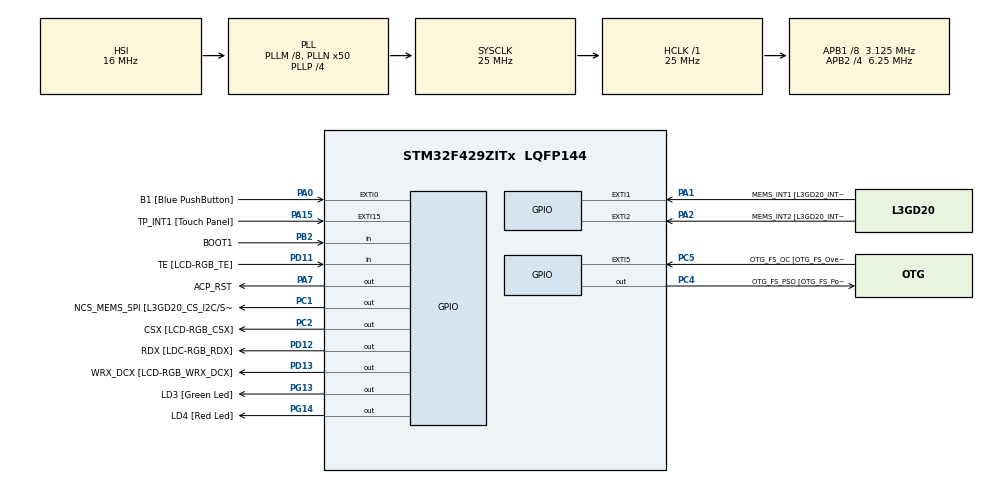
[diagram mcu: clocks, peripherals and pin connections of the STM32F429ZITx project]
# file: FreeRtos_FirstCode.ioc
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Mcu.Family=STM32F4
Mcu.Name=STM32F429ZITx
Mcu.Package=LQFP144
NVIC.PriorityGroup=NVIC_PRIORITYGROUP_4
NVIC.TIM6_DAC_IRQn=true\:0\:0\:false\:false\:true\:false\:true\:true
NVIC.TimeBase=TIM6_DAC_IRQn
NVIC.TimeBaseIP=TIM6
PA0/WKUP.GPIO_Label=B1 [Blue PushButton]
PA0/WKUP.GPIO_ModeDefaultEXTI=GPIO_MODE_EVT_RISING
PA0/WKUP.GPIO_PuPd=GPIO_NOPULL
PA0/WKUP.Signal=GPXTI0
PA1.GPIO_Label=MEMS_INT1 [L3GD20_INT1]
PA1.GPIO_ModeDefaultEXTI=GPIO_MODE_EVT_RISING
PA1.GPIO_PuPd=GPIO_NOPULL
PA1.Signal=GPXTI1
PA10.GPIO_Label=STLINK_TX [STM32F103CBT6_PA2]
PA10.Signal=USART1_RX
PA11.GPIO_Label=R4
PA11.GPIO_Mode=GPIO_MODE_AF_PP
PA11.GPIO_PuPd=GPIO_NOPULL
PA11.GPIO_Speed=GPIO_SPEED_FREQ_LOW
PA11.Signal=LTDC_R4
PA12.GPIO_Label=R5
PA12.GPIO_Mode=GPIO_MODE_AF_PP
PA12.GPIO_PuPd=GPIO_NOPULL
PA12.GPIO_Speed=GPIO_SPEED_FREQ_LOW
PA12.Signal=LTDC_R5
PA13.GPIO_Label=SWDIO
PA13.Signal=SYS_JTMS-SWDIO
PA14.GPIO_Label=SWCLK
PA14.Signal=SYS_JTCK-SWCLK
PA15.GPIO_Label=TP_INT1 [Touch Panel]
PA15.GPIO_ModeDefaultEXTI=GPIO_MODE_EVT_RISING
PA15.GPIO_PuPd=GPIO_NOPULL
PA15.Signal=GPXTI15
PA2.GPIO_Label=MEMS_INT2 [L3GD20_INT2]
PA2.GPIO_ModeDefaultEXTI=GPIO_MODE_EVT_RISING
PA2.GPIO_PuPd=GPIO_NOPULL
PA2.Signal=GPXTI2
PA3.GPIO_Label=B5
PA3.GPIO_Mode=GPIO_MODE_AF_PP
PA3.GPIO_PuPd=GPIO_NOPULL
PA3.GPIO_Speed=GPIO_SPEED_FREQ_LOW
PA3.Signal=LTDC_B5
PA4.GPIO_Label=VSYNC
PA4.GPIO_Mode=GPIO_MODE_AF_PP
PA4.GPIO_PuPd=GPIO_NOPULL
PA4.GPIO_Speed=GPIO_SPEED_FREQ_LOW
PA4.Signal=LTDC_VSYNC
PA6.GPIO_Label=G2
PA6.GPIO_Mode=GPIO_MODE_AF_PP
PA6.GPIO_PuPd=GPIO_NOPULL
PA6.GPIO_Speed=GPIO_SPEED_FREQ_LOW
PA6.Signal=LTDC_G2
PA7.GPIO_Label=ACP_RST
PA7.GPIO_Mode=GPIO_MODE_OUTPUT_PP
PA7.GPIO_PuPd=GPIO_NOPULL
PA7.GPIO_Speed=GPIO_SPEED_FREQ_LOW
PA7.Signal=GPIO_Output
PA8.GPIO_Label=I2C3_SCL [ACP/RF_SCL]
PA8.GPIO_Mode=GPIO_MODE_AF_OD
PA8.GPIO_PuPd=GPIO_NOPULL
PA8.GPIO_Speed=GPIO_SPEED_FREQ_LOW
PA8.Signal=I2C3_SCL
PA9.GPIO_Label=STLINK_RX [STM32F103CBT6_PA3]
PA9.Signal=USART1_TX
PB0.GPIO_Label=R3
PB0.GPIO_Mode=GPIO_MODE_AF_PP
PB0.GPIO_PuPd=GPIO_NOPULL
PB0.GPIO_Speed=GPIO_SPEED_FREQ_LOW
PB0.Signal=LTDC_R3
PB1.GPIO_Label=R6
PB1.GPIO_Mode=GPIO_MODE_AF_PP
PB1.GPIO_PuPd=GPIO_NOPULL
PB1.GPIO_Speed=GPIO_SPEED_FREQ_LOW
PB1.Signal=LTDC_R6
PB10.GPIO_Label=G4
PB10.GPIO_Mode=GPIO_MODE_AF_PP
PB10.GPIO_PuPd=GPIO_NOPULL
PB10.GPIO_Speed=GPIO_SPEED_FREQ_LOW
PB10.Signal=LTDC_G4
PB11.GPIO_Label=G5
PB11.GPIO_Mode=GPIO_MODE_AF_PP
PB11.GPIO_PuPd=GPIO_NOPULL
PB11.GPIO_Speed=GPIO_SPEED_FREQ_LOW
PB11.Signal=LTDC_G5
PB12.GPIO_Label=OTG_HS_ID
PB12.GPIO_Mode=GPIO_MODE_AF_PP
PB12.GPIO_PuPd=GPIO_NOPULL
PB12.GPIO_Speed=GPIO_SPEED_FREQ_LOW
PB12.Signal=USB_OTG_HS_ID
PB13.GPIO_Label=VBUS_HS
PB13.GPIO_Mode=GPIO_MODE_INPUT
PB13.GPIO_PuPd=GPIO_NOPULL
PB13.Signal=USB_OTG_HS_VBUS
PB14.GPIO_Label=OTG_HS_DM
PB14.GPIO_Mode=GPIO_MODE_AF_PP
PB14.GPIO_PuPd=GPIO_NOPULL
PB14.GPIO_Speed=GPIO_SPEED_FREQ_LOW
PB14.Signal=USB_OTG_HS_DM
PB15.GPIO_Label=OTG_HS_DP
PB15.GPIO_Mode=GPIO_MODE_AF_PP
PB15.GPIO_PuPd=GPIO_NOPULL
PB15.GPIO_Speed=GPIO_SPEED_FREQ_LOW
PB15.Signal=USB_OTG_HS_DP
PB2/BOOT1.GPIO_Label=BOOT1
PB2/BOOT1.GPIO_Mode=GPIO_MODE_INPUT
PB2/BOOT1.GPIO_PuPd=GPIO_NOPULL
PB2/BOOT1.Signal=GPIO_Input
PB5.GPIO_Label=SDCKE1
PB5.GPIO_Mode=GPIO_MODE_AF_PP
PB5.GPIO_PuPd=GPIO_NOPULL
PB5.GPIO_Speed=GPIO_SPEED_FREQ_VERY_HIGH
PB5.Signal=FMC_SDCKE1
PB6.GPIO_Label=SDNE1 [SDRAM_CS]
PB6.GPIO_Mode=GPIO_MODE_AF_PP
PB6.GPIO_PuPd=GPIO_NOPULL
PB6.GPIO_Speed=GPIO_SPEED_FREQ_VERY_HIGH
PB6.Signal=FMC_SDNE1
PB8.GPIO_Label=B6
PB8.GPIO_Mode=GPIO_MODE_AF_PP
PB8.GPIO_PuPd=GPIO_NOPULL
PB8.GPIO_Speed=GPIO_SPEED_FREQ_LOW
PB8.Signal=LTDC_B6
PB9.GPIO_Label=B7
PB9.GPIO_Mode=GPIO_MODE_AF_PP
PB9.GPIO_PuPd=GPIO_NOPULL
PB9.GPIO_Speed=GPIO_SPEED_FREQ_LOW
PB9.Signal=LTDC_B7
PC0.GPIO_Label=SDNWE
PC0.GPIO_Mode=GPIO_MODE_AF_PP
PC0.GPIO_PuPd=GPIO_NOPULL
PC0.GPIO_Speed=GPIO_SPEED_FREQ_VERY_HIGH
PC0.Signal=FMC_SDNWE
PC1.GPIO_Label=NCS_MEMS_SPI [L3GD20_CS_I2C/SPI]
PC1.GPIO_Mode=GPIO_MODE_OUTPUT_PP
PC1.GPIO_PuPd=GPIO_NOPULL
PC1.GPIO_Speed=GPIO_SPEED_FREQ_LOW
PC1.Signal=GPIO_Output
PC10.GPIO_Label=R2
PC10.GPIO_Mode=GPIO_MODE_AF_PP
PC10.GPIO_PuPd=GPIO_NOPULL
PC10.GPIO_Speed=GPIO_SPEED_FREQ_LOW
PC10.Signal=LTDC_R2
PC14/OSC32_IN.GPIO_Label=PC14-OSC32_IN
PC14/OSC32_IN.Signal=RCC_OSC32_IN
PC15/OSC32_OUT.GPIO_Label=PC15-OSC32_OUT
PC15/OSC32_OUT.Signal=RCC_OSC32_OUT
PC2.GPIO_Label=CSX [LCD-RGB_CSX]
PC2.GPIO_Mode=GPIO_MODE_OUTPUT_PP
PC2.GPIO_PuPd=GPIO_NOPULL
PC2.GPIO_Speed=GPIO_SPEED_FREQ_LOW
PC2.Signal=GPIO_Output
PC4.GPIO_Label=OTG_FS_PSO [OTG_FS_PowerSwitchOn]
PC4.GPIO_Mode=GPIO_MODE_OUTPUT_PP
PC4.GPIO_PuPd=GPIO_NOPULL
PC4.GPIO_Speed=GPIO_SPEED_FREQ_LOW
PC4.Signal=GPIO_Output
PC5.GPIO_Label=OTG_FS_OC [OTG_FS_OverCurrent]
PC5.GPIO_ModeDefaultEXTI=GPIO_MODE_EVT_RISING
PC5.Signal=GPXTI5
PC6.GPIO_Label=HSYNC
PC6.GPIO_Mode=GPIO_MODE_AF_PP
PC6.GPIO_PuPd=GPIO_NOPULL
PC6.GPIO_Speed=GPIO_SPEED_FREQ_LOW
PC6.Signal=LTDC_HSYNC
PC7.GPIO_Label=G6
PC7.GPIO_Mode=GPIO_MODE_AF_PP
PC7.GPIO_PuPd=GPIO_NOPULL
PC7.GPIO_Speed=GPIO_SPEED_FREQ_LOW
PC7.Signal=LTDC_G6
PC9.GPIO_Label=I2C3_SDA [ACP/RF_SDA]
PC9.GPIO_Mode=GPIO_MODE_AF_OD
PC9.GPIO_PuPd=GPIO_NOPULL
PC9.GPIO_Speed=GPIO_SPEED_FREQ_LOW
PC9.Signal=I2C3_SDA
PD0.GPIO_Label=D2
PD0.GPIO_Mode=GPIO_MODE_AF_PP
PD0.GPIO_PuPd=GPIO_NOPULL
PD0.GPIO_Speed=GPIO_SPEED_FREQ_VERY_HIGH
PD0.Signal=FMC_D2_DA2
PD1.GPIO_Label=D3
PD1.GPIO_Mode=GPIO_MODE_AF_PP
PD1.GPIO_PuPd=GPIO_NOPULL
PD1.GPIO_Speed=GPIO_SPEED_FREQ_VERY_HIGH
PD1.Signal=FMC_D3_DA3
PD10.GPIO_Label=D15
PD10.GPIO_Mode=GPIO_MODE_AF_PP
PD10.GPIO_PuPd=GPIO_NOPULL
PD10.GPIO_Speed=GPIO_SPEED_FREQ_VERY_HIGH
PD10.Signal=FMC_D15_DA15
PD11.GPIO_Label=TE [LCD-RGB_TE]
PD11.GPIO_Mode=GPIO_MODE_INPUT
PD11.GPIO_PuPd=GPIO_NOPULL
PD11.Signal=GPIO_Input
PD12.GPIO_Label=RDX [LDC-RGB_RDX]
PD12.GPIO_Mode=GPIO_MODE_OUTPUT_PP
PD12.GPIO_PuPd=GPIO_NOPULL
PD12.GPIO_Speed=GPIO_SPEED_FREQ_LOW
PD12.Signal=GPIO_Output
PD13.GPIO_Label=WRX_DCX [LCD-RGB_WRX_DCX]
PD13.GPIO_Mode=GPIO_MODE_OUTPUT_PP
PD13.GPIO_PuPd=GPIO_NOPULL
PD13.GPIO_Speed=GPIO_SPEED_FREQ_LOW
PD13.Signal=GPIO_Output
PD14.GPIO_Label=D0
PD14.GPIO_Mode=GPIO_MODE_AF_PP
PD14.GPIO_PuPd=GPIO_NOPULL
PD14.GPIO_Speed=GPIO_SPEED_FREQ_VERY_HIGH
PD14.Signal=FMC_D0_DA0
PD15.GPIO_Label=D1
PD15.GPIO_Mode=GPIO_MODE_AF_PP
PD15.GPIO_PuPd=GPIO_NOPULL
PD15.GPIO_Speed=GPIO_SPEED_FREQ_VERY_HIGH
PD15.Signal=FMC_D1_DA1
PD3.GPIO_Label=G7
PD3.GPIO_Mode=GPIO_MODE_AF_PP
PD3.GPIO_PuPd=GPIO_NOPULL
PD3.GPIO_Speed=GPIO_SPEED_FREQ_LOW
PD3.Signal=LTDC_G7
PD6.GPIO_Label=B2
PD6.GPIO_Mode=GPIO_MODE_AF_PP
PD6.GPIO_PuPd=GPIO_NOPULL
PD6.GPIO_Speed=GPIO_SPEED_FREQ_LOW
PD6.Signal=LTDC_B2
PD8.GPIO_Label=D13
PD8.GPIO_Mode=GPIO_MODE_AF_PP
PD8.GPIO_PuPd=GPIO_NOPULL
PD8.GPIO_Speed=GPIO_SPEED_FREQ_VERY_HIGH
PD8.Signal=FMC_D13_DA13
PD9.GPIO_Label=D14
PD9.GPIO_Mode=GPIO_MODE_AF_PP
PD9.GPIO_PuPd=GPIO_NOPULL
PD9.GPIO_Speed=GPIO_SPEED_FREQ_VERY_HIGH
PD9.Signal=FMC_D14_DA14
PE0.GPIO_Label=NBL0 [SDRAM_LDQM]
PE0.GPIO_Mode=GPIO_MODE_AF_PP
PE0.GPIO_PuPd=GPIO_NOPULL
PE0.GPIO_Speed=GPIO_SPEED_FREQ_VERY_HIGH
PE0.Signal=FMC_NBL0
PE1.GPIO_Label=NBL1 [SDRAM_UDQM]
PE1.GPIO_Mode=GPIO_MODE_AF_PP
PE1.GPIO_PuPd=GPIO_NOPULL
PE1.GPIO_Speed=GPIO_SPEED_FREQ_VERY_HIGH
PE1.Signal=FMC_NBL1
PE10.GPIO_Label=D7
PE10.GPIO_Mode=GPIO_MODE_AF_PP
PE10.GPIO_PuPd=GPIO_NOPULL
PE10.GPIO_Speed=GPIO_SPEED_FREQ_VERY_HIGH
PE10.Signal=FMC_D7_DA7
PE11.GPIO_Label=D8
PE11.GPIO_Mode=GPIO_MODE_AF_PP
PE11.GPIO_PuPd=GPIO_NOPULL
PE11.GPIO_Speed=GPIO_SPEED_FREQ_VERY_HIGH
PE11.Signal=FMC_D8_DA8
PE12.GPIO_Label=D9
PE12.GPIO_Mode=GPIO_MODE_AF_PP
PE12.GPIO_PuPd=GPIO_NOPULL
PE12.GPIO_Speed=GPIO_SPEED_FREQ_VERY_HIGH
PE12.Signal=FMC_D9_DA9
PE13.GPIO_Label=D10
PE13.GPIO_Mode=GPIO_MODE_AF_PP
PE13.GPIO_PuPd=GPIO_NOPULL
PE13.GPIO_Speed=GPIO_SPEED_FREQ_VERY_HIGH
PE13.Signal=FMC_D10_DA10
PE14.GPIO_Label=D11
PE14.GPIO_Mode=GPIO_MODE_AF_PP
PE14.GPIO_PuPd=GPIO_NOPULL
PE14.GPIO_Speed=GPIO_SPEED_FREQ_VERY_HIGH
PE14.Signal=FMC_D11_DA11
PE15.GPIO_Label=D12
PE15.GPIO_Mode=GPIO_MODE_AF_PP
PE15.GPIO_PuPd=GPIO_NOPULL
PE15.GPIO_Speed=GPIO_SPEED_FREQ_VERY_HIGH
PE15.Signal=FMC_D12_DA12
PE7.GPIO_Label=D4
PE7.GPIO_Mode=GPIO_MODE_AF_PP
PE7.GPIO_PuPd=GPIO_NOPULL
PE7.GPIO_Speed=GPIO_SPEED_FREQ_VERY_HIGH
PE7.Signal=FMC_D4_DA4
PE8.GPIO_Label=D5
PE8.GPIO_Mode=GPIO_MODE_AF_PP
PE8.GPIO_PuPd=GPIO_NOPULL
PE8.GPIO_Speed=GPIO_SPEED_FREQ_VERY_HIGH
PE8.Signal=FMC_D5_DA5
PE9.GPIO_Label=D6
PE9.GPIO_Mode=GPIO_MODE_AF_PP
PE9.GPIO_PuPd=GPIO_NOPULL
PE9.GPIO_Speed=GPIO_SPEED_FREQ_VERY_HIGH
PE9.Signal=FMC_D6_DA6
PF0.GPIO_Label=A0
PF0.GPIO_Mode=GPIO_MODE_AF_PP
PF0.GPIO_PuPd=GPIO_NOPULL
PF0.GPIO_Speed=GPIO_SPEED_FREQ_VERY_HIGH
PF0.Signal=FMC_A0
PF1.GPIO_Label=A1
PF1.GPIO_Mode=GPIO_MODE_AF_PP
PF1.GPIO_PuPd=GPIO_NOPULL
PF1.GPIO_Speed=GPIO_SPEED_FREQ_VERY_HIGH
PF1.Signal=FMC_A1
PF10.GPIO_Label=ENABLE [LCD-RGB_ENABLE]
PF10.GPIO_Mode=GPIO_MODE_AF_PP
PF10.GPIO_PuPd=GPIO_NOPULL
PF10.GPIO_Speed=GPIO_SPEED_FREQ_LOW
PF10.Signal=LTDC_DE
PF11.GPIO_Label=SDNRAS
PF11.GPIO_Mode=GPIO_MODE_AF_PP
PF11.GPIO_PuPd=GPIO_NOPULL
PF11.GPIO_Speed=GPIO_SPEED_FREQ_VERY_HIGH
PF11.Signal=FMC_SDNRAS
PF12.GPIO_Label=A6
PF12.GPIO_Mode=GPIO_MODE_AF_PP
PF12.GPIO_PuPd=GPIO_NOPULL
PF12.GPIO_Speed=GPIO_SPEED_FREQ_VERY_HIGH
PF12.Signal=FMC_A6
PF13.GPIO_Label=A7
PF13.GPIO_Mode=GPIO_MODE_AF_PP
PF13.GPIO_PuPd=GPIO_NOPULL
PF13.GPIO_Speed=GPIO_SPEED_FREQ_VERY_HIGH
PF13.Signal=FMC_A7
PF14.GPIO_Label=A8
PF14.GPIO_Mode=GPIO_MODE_AF_PP
PF14.GPIO_PuPd=GPIO_NOPULL
PF14.GPIO_Speed=GPIO_SPEED_FREQ_VERY_HIGH
PF14.Signal=FMC_A8
PF15.GPIO_Label=A9
PF15.GPIO_Mode=GPIO_MODE_AF_PP
PF15.GPIO_PuPd=GPIO_NOPULL
PF15.GPIO_Speed=GPIO_SPEED_FREQ_VERY_HIGH
PF15.Signal=FMC_A9
PF2.GPIO_Label=A2
PF2.GPIO_Mode=GPIO_MODE_AF_PP
PF2.GPIO_PuPd=GPIO_NOPULL
PF2.GPIO_Speed=GPIO_SPEED_FREQ_VERY_HIGH
PF2.Signal=FMC_A2
PF3.GPIO_Label=A3
PF3.GPIO_Mode=GPIO_MODE_AF_PP
PF3.GPIO_PuPd=GPIO_NOPULL
PF3.GPIO_Speed=GPIO_SPEED_FREQ_VERY_HIGH
PF3.Signal=FMC_A3
PF4.GPIO_Label=A4
PF4.GPIO_Mode=GPIO_MODE_AF_PP
PF4.GPIO_PuPd=GPIO_NOPULL
PF4.GPIO_Speed=GPIO_SPEED_FREQ_VERY_HIGH
PF4.Signal=FMC_A4
PF5.GPIO_Label=A5
PF5.GPIO_Mode=GPIO_MODE_AF_PP
PF5.GPIO_PuPd=GPIO_NOPULL
PF5.GPIO_Speed=GPIO_SPEED_FREQ_VERY_HIGH
PF5.Signal=FMC_A5
PF7.GPIO_Label=SPI5_SCK [L3GD20_SCL/SPC]
PF7.GPIO_Mode=GPIO_MODE_AF_PP
PF7.GPIO_PuPd=GPIO_NOPULL
PF7.GPIO_Speed=GPIO_SPEED_FREQ_LOW
PF7.Signal=SPI5_SCK
PF8.GPIO_Label=SPI5_MISO [L3GD20_SDO]
PF8.GPIO_Mode=GPIO_MODE_AF_PP
PF8.GPIO_PuPd=GPIO_NOPULL
PF8.GPIO_Speed=GPIO_SPEED_FREQ_LOW
PF8.Signal=SPI5_MISO
PF9.GPIO_Label=SPI5_MOSI [L3GD20_SDA/SDI/SDO]
PF9.GPIO_Mode=GPIO_MODE_AF_PP
PF9.GPIO_PuPd=GPIO_NOPULL
PF9.GPIO_Speed=GPIO_SPEED_FREQ_LOW
PF9.Signal=SPI5_MOSI
PG0.GPIO_Label=A10
PG0.GPIO_Mode=GPIO_MODE_AF_PP
PG0.GPIO_PuPd=GPIO_NOPULL
PG0.GPIO_Speed=GPIO_SPEED_FREQ_VERY_HIGH
PG0.Signal=FMC_A10
PG1.GPIO_Label=A11
PG1.GPIO_Mode=GPIO_MODE_AF_PP
PG1.GPIO_PuPd=GPIO_NOPULL
PG1.GPIO_Speed=GPIO_SPEED_FREQ_VERY_HIGH
PG1.Signal=FMC_A11
PG10.GPIO_Label=G3
PG10.GPIO_Mode=GPIO_MODE_AF_PP
PG10.GPIO_PuPd=GPIO_NOPULL
PG10.GPIO_Speed=GPIO_SPEED_FREQ_LOW
PG10.Signal=LTDC_G3
PG11.GPIO_Label=B3
PG11.GPIO_Mode=GPIO_MODE_AF_PP
PG11.GPIO_PuPd=GPIO_NOPULL
PG11.GPIO_Speed=GPIO_SPEED_FREQ_LOW
PG11.Signal=LTDC_B3
PG12.GPIO_Label=B4
PG12.GPIO_Mode=GPIO_MODE_AF_PP
PG12.GPIO_PuPd=GPIO_NOPULL
PG12.GPIO_Speed=GPIO_SPEED_FREQ_LOW
PG12.Signal=LTDC_B4
PG13.GPIO_Label=LD3 [Green Led]
PG13.GPIO_Mode=GPIO_MODE_OUTPUT_PP
PG13.GPIO_PuPd=GPIO_NOPULL
PG13.GPIO_Speed=GPIO_SPEED_FREQ_LOW
PG13.Signal=GPIO_Output
PG14.GPIO_Label=LD4 [Red Led]
PG14.GPIO_Mode=GPIO_MODE_OUTPUT_PP
PG14.GPIO_PuPd=GPIO_NOPULL
PG14.GPIO_Speed=GPIO_SPEED_FREQ_LOW
PG14.Signal=GPIO_Output
PG15.GPIO_Label=SDNCAS
PG15.GPIO_Mode=GPIO_MODE_AF_PP
PG15.GPIO_PuPd=GPIO_NOPULL
PG15.GPIO_Speed=GPIO_SPEED_FREQ_VERY_HIGH
PG15.Signal=FMC_SDNCAS
PG4.GPIO_Label=BA0
PG4.GPIO_Mode=GPIO_MODE_AF_PP
PG4.GPIO_PuPd=GPIO_NOPULL
PG4.GPIO_Speed=GPIO_SPEED_FREQ_VERY_HIGH
PG4.Signal=FMC_A14_BA0
PG5.GPIO_Label=BA1
PG5.GPIO_Mode=GPIO_MODE_AF_PP
PG5.GPIO_PuPd=GPIO_NOPULL
PG5.GPIO_Speed=GPIO_SPEED_FREQ_VERY_HIGH
PG5.Signal=FMC_A15_BA1
PG6.GPIO_Label=R7
PG6.GPIO_Mode=GPIO_MODE_AF_PP
PG6.GPIO_PuPd=GPIO_NOPULL
PG6.GPIO_Speed=GPIO_SPEED_FREQ_LOW
PG6.Signal=LTDC_R7
PG7.GPIO_Label=DOTCLK [LCT-RGB_DOTCLK]
PG7.GPIO_Mode=GPIO_MODE_AF_PP
PG7.GPIO_PuPd=GPIO_NOPULL
PG7.GPIO_Speed=GPIO_SPEED_FREQ_LOW
PG7.Signal=LTDC_CLK
PG8.GPIO_Label=SDCLK
PG8.GPIO_Mode=GPIO_MODE_AF_PP
PG8.GPIO_PuPd=GPIO_NOPULL
PG8.GPIO_Speed=GPIO_SPEED_FREQ_VERY_HIGH
PG8.Signal=FMC_SDCLK
PH0/OSC_IN.GPIO_Label=PH0-OSC_IN
PH0/OSC_IN.Signal=RCC_OSC_IN
PH1/OSC_OUT.GPIO_Label=PH1-OSC_OUT
PH1/OSC_OUT.Signal=RCC_OSC_OUT
ProjectManager.HeapSize=0x200
ProjectManager.StackSize=0x400
ProjectManager.TargetToolchain=STM32CubeIDE
RCC.48MHZClocksFreq_Value=14285714.285714285
RCC.AHBFreq_Value=25000000
RCC.APB1CLKDivider=RCC_HCLK_DIV8
RCC.APB1Freq_Value=3125000
RCC.APB1TimFreq_Value=6250000
RCC.APB2CLKDivider=RCC_HCLK_DIV4
RCC.APB2Freq_Value=6250000
RCC.APB2TimFreq_Value=12500000
RCC.CortexFreq_Value=25000000
RCC.HCLKFreq_Value=25000000
RCC.HSE_VALUE=8000000
RCC.HSI_VALUE=16000000
RCC.LSE_VALUE=32768
RCC.PLLM=8
RCC.PLLN=50
RCC.PLLP=RCC_PLLP_DIV4
RCC.PLLQ=7
RCC.SYSCLKFreq_VALUE=25000000
RCC.SYSCLKSource=RCC_SYSCLKSOURCE_PLLCLK
RCC.VCOOutputFreq_Value=100000000
SH.FMC_A0.0=FMC_A0
SH.FMC_A1.0=FMC_A1
SH.FMC_A10.0=FMC_A10
SH.FMC_A11.0=FMC_A11
SH.FMC_A14_BA0.0=FMC_BA0
SH.FMC_A15_BA1.0=FMC_BA1
SH.FMC_A2.0=FMC_A2
SH.FMC_A3.0=FMC_A3
SH.FMC_A4.0=FMC_A4
SH.FMC_A5.0=FMC_A5
SH.FMC_A6.0=FMC_A6
SH.FMC_A7.0=FMC_A7
SH.FMC_A8.0=FMC_A8
SH.FMC_A9.0=FMC_A9
SH.FMC_D0_DA0.0=FMC_D0
SH.FMC_D10_DA10.0=FMC_D10
SH.FMC_D11_DA11.0=FMC_D11
SH.FMC_D12_DA12.0=FMC_D12
SH.FMC_D13_DA13.0=FMC_D13
SH.FMC_D14_DA14.0=FMC_D14
SH.FMC_D15_DA15.0=FMC_D15
SH.FMC_D1_DA1.0=FMC_D1
SH.FMC_D2_DA2.0=FMC_D2
SH.FMC_D3_DA3.0=FMC_D3
SH.FMC_D4_DA4.0=FMC_D4
SH.FMC_D5_DA5.0=FMC_D5
SH.FMC_D6_DA6.0=FMC_D6
SH.FMC_D7_DA7.0=FMC_D7
SH.FMC_D8_DA8.0=FMC_D8
SH.FMC_D9_DA9.0=FMC_D9
SH.FMC_NBL0.0=FMC_NBL0
SH.FMC_NBL1.0=FMC_NBL1
SH.FMC_SDCLK.0=FMC_SDCLK
SH.FMC_SDNCAS.0=FMC_SDNCAS
SH.FMC_SDNRAS.0=FMC_SDNRAS
SH.FMC_SDNWE.0=FMC_SDNWE
VP_SYS_VS_tim6.Mode=TIM6
board=STM32F429I-DISC1

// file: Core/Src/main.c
/* USER CODE BEGIN Header */
/**
  ******************************************************************************
  * @file           : main.c
  * @brief          : Main program body
  ******************************************************************************
  * @attention
  *
  * Copyright (c) 2023 STMicroelectronics.
  * All rights reserved.
  *
  * This software is licensed under terms that can be found in the LICENSE file
  * in the root directory of this software component.
  * If no LICENSE file comes with this software, it is provided AS-IS.
  *
  ******************************************************************************
  */
/* USER CODE END Header */
#include "main.h"

/* USER CODE BEGIN Includes */
#include <stdio.h>
#include "FreeRTOS.h"
#include "task.h"
/* USER CODE END Includes */

/* USER CODE BEGIN PV */

#define DWT_CTRL	(*(volatile uint32_t*)0xE0001000)

/* USER CODE END PV */

void SystemClock_Config(void);
static void MX_GPIO_Init(void);
/* USER CODE BEGIN PFP */
static void Task1_Handler(void* Parameter);
static void Task2_Handler(void* Parameter);
/* USER CODE END PFP */

int main(void)
{
  /* USER CODE BEGIN 1 */
	TaskHandle_t Task1_handle;
	TaskHandle_t Task2_handle;
	BaseType_t Is_Created;
  /* USER CODE END 1 */

  /* MCU Configuration--------------------------------------------------------*/

  /* Reset of all peripherals, Initializes the Flash interface and the Systick. */
  HAL_Init();

  /* Configure the system clock */
  SystemClock_Config();

  /* Initialize all configured peripherals */
  MX_GPIO_Init();
  /* USER CODE BEGIN 2 */

//Enable the CYCCNT counter.

 DWT_CTRL |= (1 << 0);

 SEGGER_SYSVIEW_Conf();
 SEGGER_SYSVIEW_Start();

Is_Created =  xTaskCreate(Task1_Handler,"Task-1",200,"Hello World from Task-1",2,&Task1_handle);
configASSERT(Is_Created == pdPASS);
Is_Created =  xTaskCreate(Task2_Handler,"Task-2",200,"Hello World from Task-2",2,&Task2_handle);
configASSERT(Is_Created == pdPASS);

vTaskStartScheduler();

  /* USER CODE END 2 */

  /* Infinite loop */
  while (1)
  {

  }
}

void SystemClock_Config(void)
{
  RCC_OscInitTypeDef RCC_OscInitStruct = {0};
  RCC_ClkInitTypeDef RCC_ClkInitStruct = {0};

  /** Configure the main internal regulator output voltage
  */
  __HAL_RCC_PWR_CLK_ENABLE();
  __HAL_PWR_VOLTAGESCALING_CONFIG(PWR_REGULATOR_VOLTAGE_SCALE3);

  /** Initializes the RCC Oscillators according to the specified parameters
  * in the RCC_OscInitTypeDef structure.
  */
  RCC_OscInitStruct.OscillatorType = RCC_OSCILLATORTYPE_HSI;
  RCC_OscInitStruct.HSIState = RCC_HSI_ON;
  RCC_OscInitStruct.HSICalibrationValue = RCC_HSICALIBRATION_DEFAULT;
  RCC_OscInitStruct.PLL.PLLState = RCC_PLL_ON;
  RCC_OscInitStruct.PLL.PLLSource = RCC_PLLSOURCE_HSI;
  RCC_OscInitStruct.PLL.PLLM = 8;
  RCC_OscInitStruct.PLL.PLLN = 50;
  RCC_OscInitStruct.PLL.PLLP = RCC_PLLP_DIV4;
  RCC_OscInitStruct.PLL.PLLQ = 7;
  if (HAL_RCC_OscConfig(&RCC_OscInitStruct) != HAL_OK)
  {
    Error_Handler();
  }

  /** Initializes the CPU, AHB and APB buses clocks
  */
  RCC_ClkInitStruct.ClockType = RCC_CLOCKTYPE_HCLK|RCC_CLOCKTYPE_SYSCLK
                              |RCC_CLOCKTYPE_PCLK1|RCC_CLOCKTYPE_PCLK2;
  RCC_ClkInitStruct.SYSCLKSource = RCC_SYSCLKSOURCE_PLLCLK;
  RCC_ClkInitStruct.AHBCLKDivider = RCC_SYSCLK_DIV1;
  RCC_ClkInitStruct.APB1CLKDivider = RCC_HCLK_DIV8;
  RCC_ClkInitStruct.APB2CLKDivider = RCC_HCLK_DIV4;

  if (HAL_RCC_ClockConfig(&RCC_ClkInitStruct, FLASH_LATENCY_0) != HAL_OK)
  {
    Error_Handler();
  }
}

static void MX_GPIO_Init(void)
{
  GPIO_InitTypeDef GPIO_InitStruct = {0};

  /* GPIO Ports Clock Enable */
  __HAL_RCC_GPIOC_CLK_ENABLE();
  __HAL_RCC_GPIOF_CLK_ENABLE();
  __HAL_RCC_GPIOH_CLK_ENABLE();
  __HAL_RCC_GPIOA_CLK_ENABLE();
  __HAL_RCC_GPIOB_CLK_ENABLE();
  __HAL_RCC_GPIOG_CLK_ENABLE();
  __HAL_RCC_GPIOE_CLK_ENABLE();
  __HAL_RCC_GPIOD_CLK_ENABLE();

  /*Configure GPIO pin Output Level */
  HAL_GPIO_WritePin(GPIOC, NCS_MEMS_SPI_Pin|CSX_Pin|OTG_FS_PSO_Pin, GPIO_PIN_RESET);

  /*Configure GPIO pin Output Level */
  HAL_GPIO_WritePin(ACP_RST_GPIO_Port, ACP_RST_Pin, GPIO_PIN_RESET);

  /*Configure GPIO pin Output Level */
  HAL_GPIO_WritePin(GPIOD, RDX_Pin|WRX_DCX_Pin, GPIO_PIN_RESET);

  /*Configure GPIO pin Output Level */
  HAL_GPIO_WritePin(GPIOG, LD3_Pin|LD4_Pin, GPIO_PIN_RESET);

  /*Configure GPIO pins : A0_Pin A1_Pin A2_Pin A3_Pin
                           A4_Pin A5_Pin SDNRAS_Pin A6_Pin
                           A7_Pin A8_Pin A9_Pin */
  GPIO_InitStruct.Pin = A0_Pin|A1_Pin|A2_Pin|A3_Pin
                          |A4_Pin|A5_Pin|SDNRAS_Pin|A6_Pin
                          |A7_Pin|A8_Pin|A9_Pin;
  GPIO_InitStruct.Mode = GPIO_MODE_AF_PP;
  GPIO_InitStruct.Pull = GPIO_NOPULL;
  GPIO_InitStruct.Speed = GPIO_SPEED_FREQ_VERY_HIGH;
  GPIO_InitStruct.Alternate = GPIO_AF12_FMC;
  HAL_GPIO_Init(GPIOF, &GPIO_InitStruct);

  /*Configure GPIO pins : SPI5_SCK_Pin SPI5_MISO_Pin SPI5_MOSI_Pin */
  GPIO_InitStruct.Pin = SPI5_SCK_Pin|SPI5_MISO_Pin|SPI5_MOSI_Pin;
  GPIO_InitStruct.Mode = GPIO_MODE_AF_PP;
  GPIO_InitStruct.Pull = GPIO_NOPULL;
  GPIO_InitStruct.Speed = GPIO_SPEED_FREQ_LOW;
  GPIO_InitStruct.Alternate = GPIO_AF5_SPI5;
  HAL_GPIO_Init(GPIOF, &GPIO_InitStruct);

  /*Configure GPIO pin : ENABLE_Pin */
  GPIO_InitStruct.Pin = ENABLE_Pin;
  GPIO_InitStruct.Mode = GPIO_MODE_AF_PP;
  GPIO_InitStruct.Pull = GPIO_NOPULL;
  GPIO_InitStruct.Speed = GPIO_SPEED_FREQ_LOW;
  GPIO_InitStruct.Alternate = GPIO_AF14_LTDC;
  HAL_GPIO_Init(ENABLE_GPIO_Port, &GPIO_InitStruct);

  /*Configure GPIO pin : SDNWE_Pin */
  GPIO_InitStruct.Pin = SDNWE_Pin;
  GPIO_InitStruct.Mode = GPIO_MODE_AF_PP;
  GPIO_InitStruct.Pull = GPIO_NOPULL;
  GPIO_InitStruct.Speed = GPIO_SPEED_FREQ_VERY_HIGH;
  GPIO_InitStruct.Alternate = GPIO_AF12_FMC;
  HAL_GPIO_Init(SDNWE_GPIO_Port, &GPIO_InitStruct);

  /*Configure GPIO pins : NCS_MEMS_SPI_Pin CSX_Pin OTG_FS_PSO_Pin */
  GPIO_InitStruct.Pin = NCS_MEMS_SPI_Pin|CSX_Pin|OTG_FS_PSO_Pin;
  GPIO_InitStruct.Mode = GPIO_MODE_OUTPUT_PP;
  GPIO_InitStruct.Pull = GPIO_NOPULL;
  GPIO_InitStruct.Speed = GPIO_SPEED_FREQ_LOW;
  HAL_GPIO_Init(GPIOC, &GPIO_InitStruct);

  /*Configure GPIO pins : B1_Pin MEMS_INT1_Pin MEMS_INT2_Pin TP_INT1_Pin */
  GPIO_InitStruct.Pin = B1_Pin|MEMS_INT1_Pin|MEMS_INT2_Pin|TP_INT1_Pin;
  GPIO_InitStruct.Mode = GPIO_MODE_EVT_RISING;
  GPIO_InitStruct.Pull = GPIO_NOPULL;
  HAL_GPIO_Init(GPIOA, &GPIO_InitStruct);

  /*Configure GPIO pins : B5_Pin VSYNC_Pin G2_Pin R4_Pin
                           R5_Pin */
  GPIO_InitStruct.Pin = B5_Pin|VSYNC_Pin|G2_Pin|R4_Pin
                          |R5_Pin;
  GPIO_InitStruct.Mode = GPIO_MODE_AF_PP;
  GPIO_InitStruct.Pull = GPIO_NOPULL;
  GPIO_InitStruct.Speed = GPIO_SPEED_FREQ_LOW;
  GPIO_InitStruct.Alternate = GPIO_AF14_LTDC;
  HAL_GPIO_Init(GPIOA, &GPIO_InitStruct);

  /*Configure GPIO pin : ACP_RST_Pin */
  GPIO_InitStruct.Pin = ACP_RST_Pin;
  GPIO_InitStruct.Mode = GPIO_MODE_OUTPUT_PP;
  GPIO_InitStruct.Pull = GPIO_NOPULL;
  GPIO_InitStruct.Speed = GPIO_SPEED_FREQ_LOW;
  HAL_GPIO_Init(ACP_RST_GPIO_Port, &GPIO_InitStruct);

  /*Configure GPIO pin : OTG_FS_OC_Pin */
  GPIO_InitStruct.Pin = OTG_FS_OC_Pin;
  GPIO_InitStruct.Mode = GPIO_MODE_EVT_RISING;
  GPIO_InitStruct.Pull = GPIO_NOPULL;
  HAL_GPIO_Init(OTG_FS_OC_GPIO_Port, &GPIO_InitStruct);

  /*Configure GPIO pins : R3_Pin R6_Pin */
  GPIO_InitStruct.Pin = R3_Pin|R6_Pin;
  GPIO_InitStruct.Mode = GPIO_MODE_AF_PP;
  GPIO_InitStruct.Pull = GPIO_NOPULL;
  GPIO_InitStruct.Speed = GPIO_SPEED_FREQ_LOW;
  GPIO_InitStruct.Alternate = GPIO_AF9_LTDC;
  HAL_GPIO_Init(GPIOB, &GPIO_InitStruct);

  /*Configure GPIO pin : BOOT1_Pin */
  GPIO_InitStruct.Pin = BOOT1_Pin;
  GPIO_InitStruct.Mode = GPIO_MODE_INPUT;
  GPIO_InitStruct.Pull = GPIO_NOPULL;
  HAL_GPIO_Init(BOOT1_GPIO_Port, &GPIO_InitStruct);

  /*Configure GPIO pins : A10_Pin A11_Pin BA0_Pin BA1_Pin
                           SDCLK_Pin SDNCAS_Pin */
  GPIO_InitStruct.Pin = A10_Pin|A11_Pin|BA0_Pin|BA1_Pin
                          |SDCLK_Pin|SDNCAS_Pin;
  GPIO_InitStruct.Mode = GPIO_MODE_AF_PP;
  GPIO_InitStruct.Pull = GPIO_NOPULL;
  GPIO_InitStruct.Speed = GPIO_SPEED_FREQ_VERY_HIGH;
  GPIO_InitStruct.Alternate = GPIO_AF12_FMC;
  HAL_GPIO_Init(GPIOG, &GPIO_InitStruct);

  /*Configure GPIO pins : D4_Pin D5_Pin D6_Pin D7_Pin
                           D8_Pin D9_Pin D10_Pin D11_Pin
                           D12_Pin NBL0_Pin NBL1_Pin */
  GPIO_InitStruct.Pin = D4_Pin|D5_Pin|D6_Pin|D7_Pin
                          |D8_Pin|D9_Pin|D10_Pin|D11_Pin
                          |D12_Pin|NBL0_Pin|NBL1_Pin;
  GPIO_InitStruct.Mode = GPIO_MODE_AF_PP;
  GPIO_InitStruct.Pull = GPIO_NOPULL;
  GPIO_InitStruct.Speed = GPIO_SPEED_FREQ_VERY_HIGH;
  GPIO_InitStruct.Alternate = GPIO_AF12_FMC;
  HAL_GPIO_Init(GPIOE, &GPIO_InitStruct);

  /*Configure GPIO pins : G4_Pin G5_Pin B6_Pin B7_Pin */
  GPIO_InitStruct.Pin = G4_Pin|G5_Pin|B6_Pin|B7_Pin;
  GPIO_InitStruct.Mode = GPIO_MODE_AF_PP;
  GPIO_InitStruct.Pull = GPIO_NOPULL;
  GPIO_InitStruct.Speed = GPIO_SPEED_FREQ_LOW;
  GPIO_InitStruct.Alternate = GPIO_AF14_LTDC;
  HAL_GPIO_Init(GPIOB, &GPIO_InitStruct);

  /*Configure GPIO pins : OTG_HS_ID_Pin OTG_HS_DM_Pin OTG_HS_DP_Pin */
  GPIO_InitStruct.Pin = OTG_HS_ID_Pin|OTG_HS_DM_Pin|OTG_HS_DP_Pin;
  GPIO_InitStruct.Mode = GPIO_MODE_AF_PP;
  GPIO_InitStruct.Pull = GPIO_NOPULL;
  GPIO_InitStruct.Speed = GPIO_SPEED_FREQ_LOW;
  GPIO_InitStruct.Alternate = GPIO_AF12_OTG_HS_FS;
  HAL_GPIO_Init(GPIOB, &GPIO_InitStruct);

  /*Configure GPIO pin : VBUS_HS_Pin */
  GPIO_InitStruct.Pin = VBUS_HS_Pin;
  GPIO_InitStruct.Mode = GPIO_MODE_INPUT;
  GPIO_InitStruct.Pull = GPIO_NOPULL;
  HAL_GPIO_Init(VBUS_HS_GPIO_Port, &GPIO_InitStruct);

  /*Configure GPIO pins : D13_Pin D14_Pin D15_Pin D0_Pin
                           D1_Pin D2_Pin D3_Pin */
  GPIO_InitStruct.Pin = D13_Pin|D14_Pin|D15_Pin|D0_Pin
                          |D1_Pin|D2_Pin|D3_Pin;
  GPIO_InitStruct.Mode = GPIO_MODE_AF_PP;
  GPIO_InitStruct.Pull = GPIO_NOPULL;
  GPIO_InitStruct.Speed = GPIO_SPEED_FREQ_VERY_HIGH;
  GPIO_InitStruct.Alternate = GPIO_AF12_FMC;
  HAL_GPIO_Init(GPIOD, &GPIO_InitStruct);

  /*Configure GPIO pin : TE_Pin */
  GPIO_InitStruct.Pin = TE_Pin;
  GPIO_InitStruct.Mode = GPIO_MODE_INPUT;
  GPIO_InitStruct.Pull = GPIO_NOPULL;
  HAL_GPIO_Init(TE_GPIO_Port, &GPIO_InitStruct);

  /*Configure GPIO pins : RDX_Pin WRX_DCX_Pin */
  GPIO_InitStruct.Pin = RDX_Pin|WRX_DCX_Pin;
  GPIO_InitStruct.Mode = GPIO_MODE_OUTPUT_PP;
  GPIO_InitStruct.Pull = GPIO_NOPULL;
  GPIO_InitStruct.Speed = GPIO_SPEED_FREQ_LOW;
  HAL_GPIO_Init(GPIOD, &GPIO_InitStruct);

  /*Configure GPIO pins : R7_Pin DOTCLK_Pin B3_Pin */
  GPIO_InitStruct.Pin = R7_Pin|DOTCLK_Pin|B3_Pin;
  GPIO_InitStruct.Mode = GPIO_MODE_AF_PP;
  GPIO_InitStruct.Pull = GPIO_NOPULL;
  GPIO_InitStruct.Speed = GPIO_SPEED_FREQ_LOW;
  GPIO_InitStruct.Alternate = GPIO_AF14_LTDC;
  HAL_GPIO_Init(GPIOG, &GPIO_InitStruct);

  /*Configure GPIO pins : HSYNC_Pin G6_Pin R2_Pin */
  GPIO_InitStruct.Pin = HSYNC_Pin|G6_Pin|R2_Pin;
  GPIO_InitStruct.Mode = GPIO_MODE_AF_PP;
  GPIO_InitStruct.Pull = GPIO_NOPULL;
  GPIO_InitStruct.Speed = GPIO_SPEED_FREQ_LOW;
  GPIO_InitStruct.Alternate = GPIO_AF14_LTDC;
  HAL_GPIO_Init(GPIOC, &GPIO_InitStruct);

  /*Configure GPIO pin : I2C3_SDA_Pin */
  GPIO_InitStruct.Pin = I2C3_SDA_Pin;
  GPIO_InitStruct.Mode = GPIO_MODE_AF_OD;
  GPIO_InitStruct.Pull = GPIO_NOPULL;
  GPIO_InitStruct.Speed = GPIO_SPEED_FREQ_LOW;
  GPIO_InitStruct.Alternate = GPIO_AF4_I2C3;
  HAL_GPIO_Init(I2C3_SDA_GPIO_Port, &GPIO_InitStruct);

  /*Configure GPIO pin : I2C3_SCL_Pin */
  GPIO_InitStruct.Pin = I2C3_SCL_Pin;
  GPIO_InitStruct.Mode = GPIO_MODE_AF_OD;
  GPIO_InitStruct.Pull = GPIO_NOPULL;
  GPIO_InitStruct.Speed = GPIO_SPEED_FREQ_LOW;
  GPIO_InitStruct.Alternate = GPIO_AF4_I2C3;
  HAL_GPIO_Init(I2C3_SCL_GPIO_Port, &GPIO_InitStruct);

  /*Configure GPIO pins : STLINK_RX_Pin STLINK_TX_Pin */
  GPIO_InitStruct.Pin = STLINK_RX_Pin|STLINK_TX_Pin;
  GPIO_InitStruct.Mode = GPIO_MODE_AF_PP;
  GPIO_InitStruct.Pull = GPIO_NOPULL;
  GPIO_InitStruct.Speed = GPIO_SPEED_FREQ_VERY_HIGH;
  GPIO_InitStruct.Alternate = GPIO_AF7_USART1;
  HAL_GPIO_Init(GPIOA, &GPIO_InitStruct);

  /*Configure GPIO pins : G7_Pin B2_Pin */
  GPIO_InitStruct.Pin = G7_Pin|B2_Pin;
  GPIO_InitStruct.Mode = GPIO_MODE_AF_PP;
  GPIO_InitStruct.Pull = GPIO_NOPULL;
  GPIO_InitStruct.Speed = GPIO_SPEED_FREQ_LOW;
  GPIO_InitStruct.Alternate = GPIO_AF14_LTDC;
  HAL_GPIO_Init(GPIOD, &GPIO_InitStruct);

  /*Configure GPIO pins : G3_Pin B4_Pin */
  GPIO_InitStruct.Pin = G3_Pin|B4_Pin;
  GPIO_InitStruct.Mode = GPIO_MODE_AF_PP;
  GPIO_InitStruct.Pull = GPIO_NOPULL;
  GPIO_InitStruct.Speed = GPIO_SPEED_FREQ_LOW;
  GPIO_InitStruct.Alternate = GPIO_AF9_LTDC;
  HAL_GPIO_Init(GPIOG, &GPIO_InitStruct);

  /*Configure GPIO pins : LD3_Pin LD4_Pin */
  GPIO_InitStruct.Pin = LD3_Pin|LD4_Pin;
  GPIO_InitStruct.Mode = GPIO_MODE_OUTPUT_PP;
  GPIO_InitStruct.Pull = GPIO_NOPULL;
  GPIO_InitStruct.Speed = GPIO_SPEED_FREQ_LOW;
  HAL_GPIO_Init(GPIOG, &GPIO_InitStruct);

  /*Configure GPIO pins : SDCKE1_Pin SDNE1_Pin */
  GPIO_InitStruct.Pin = SDCKE1_Pin|SDNE1_Pin;
  GPIO_InitStruct.Mode = GPIO_MODE_AF_PP;
  GPIO_InitStruct.Pull = GPIO_NOPULL;
  GPIO_InitStruct.Speed = GPIO_SPEED_FREQ_VERY_HIGH;
  GPIO_InitStruct.Alternate = GPIO_AF12_FMC;
  HAL_GPIO_Init(GPIOB, &GPIO_InitStruct);

}

/* USER CODE BEGIN 4 */

static void Task1_Handler(void* Parameter)
{
	char msg[100];

	while(1)
	{
		//printf("%s\n", (char*)Parameter);
		snprintf(msg,100,"%s\n", (char*)Parameter);
		SEGGER_SYSVIEW_PrintfTarget(msg);
		taskYIELD();
	}
}

static void Task2_Handler(void* Parameter)
{
	char msg[100];

	while(1)
		{
			//printf("%s\n", (char*)Parameter);
			snprintf(msg,100,"%s\n", (char*)Parameter);
			SEGGER_SYSVIEW_PrintfTarget(msg);
			taskYIELD();
		}
}

/* USER CODE END 4 */

void HAL_TIM_PeriodElapsedCallback(TIM_HandleTypeDef *htim)
{
  if (htim->Instance == TIM6) {
    HAL_IncTick();
  }
}

void Error_Handler(void)
{
  __disable_irq();
  while (1)
  {
  }
}
